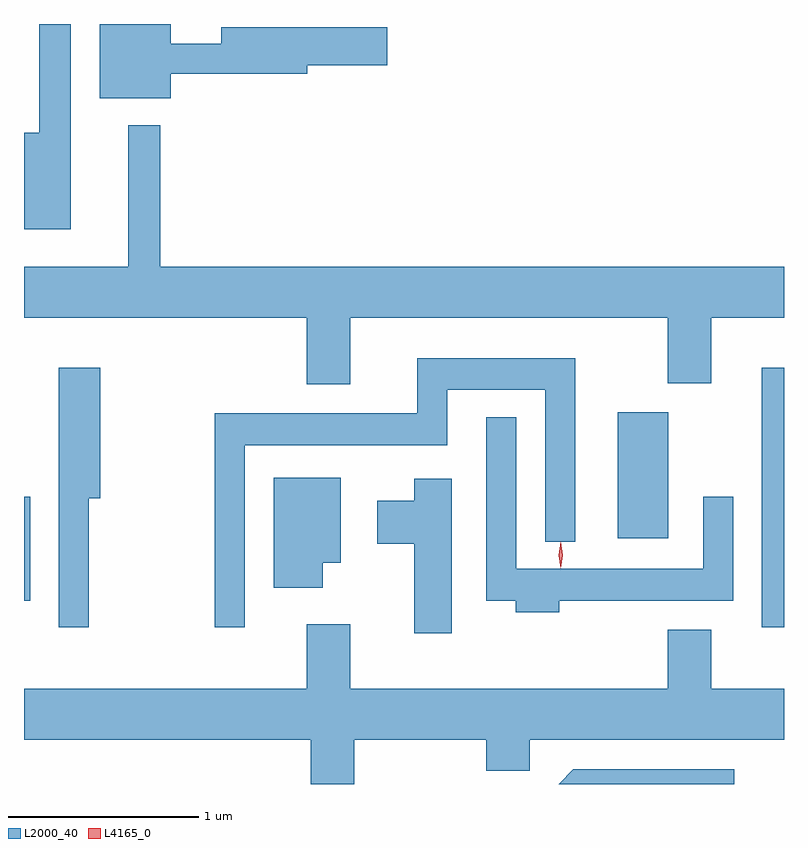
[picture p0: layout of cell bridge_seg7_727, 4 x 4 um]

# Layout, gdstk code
import gdstk
lib = gdstk.Library(unit=1e-6, precision=1e-09)
def R(c, l, rs):  # rectangles x0, y0, x1, y1
    for r in rs: c.add(gdstk.rectangle(r[:2], r[2:], *l))
def P(c, l, *ps):  # polygons
    for p in ps: c.add(gdstk.Polygon(p, *l))
L2000_40 = (2000, 40)
L4165_0 = (4165, 0)

bridge_seg7_727 = lib.new_cell('bridge_seg7_727')
R(bridge_seg7_727, L2000_40, [(567.886,1783.728,568.002,1785.094), (564.002,1783.866,564.034,1784.413), (567.126,1784.196,567.394,1784.859)])
P(bridge_seg7_727, L2000_40, [(564.774,1786.641),(565.494,1786.641),(565.494,1786.686),(565.914,1786.686),(565.914,1786.884),(565.041,1786.884),(565.041,1786.799),(564.774,1786.799),(564.774,1786.902),(564.401,1786.902),(564.401,1786.511),(564.774,1786.511)],
  [(564.249,1786.902),(564.081,1786.902),(564.081,1786.329),(564.002,1786.329),(564.002,1785.821),(564.249,1785.821)],
  [(565.719,1785.356),(567.391,1785.356),(567.391,1785.011),(567.619,1785.011),(567.619,1785.356),(568.002,1785.356),(568.002,1785.624),(564.719,1785.624),(564.719,1786.368),(564.551,1786.368),(564.551,1785.624),(564.002,1785.624),(564.002,1785.356),(565.491,1785.356),(565.491,1785.006),(565.719,1785.006)],
  [(565.164,1784.686),(566.229,1784.686),(566.229,1784.976),(566.746,1784.976),(566.746,1784.178),(566.904,1784.178),(566.904,1785.144),(566.071,1785.144),(566.071,1784.854),(565.006,1784.854),(565.006,1783.728),(565.164,1783.728)],
  [(564.344,1784.406),(564.404,1784.406),(564.404,1785.094),(564.186,1785.094),(564.186,1783.728),(564.344,1783.728)],
  [(566.819,1783.866),(567.734,1783.866),(567.734,1784.413),(567.576,1784.413),(567.576,1784.034),(566.594,1784.034),(566.594,1784.833),(566.436,1784.833),(566.436,1783.866),(566.591,1783.866),(566.591,1783.806),(566.819,1783.806)],
  [(565.574,1784.066),(565.669,1784.066),(565.669,1784.514),(565.316,1784.514),(565.316,1783.936),(565.574,1783.936)],
  [(566.254,1784.509),(566.056,1784.509),(566.056,1784.394),(565.861,1784.394),(565.861,1784.166),(566.056,1784.166),(566.056,1783.696),(566.254,1783.696)],
  [(565.739,1783.136),(566.436,1783.136),(566.436,1782.971),(566.664,1782.971),(566.664,1783.136),(568.002,1783.136),(568.002,1783.404),(567.619,1783.404),(567.619,1783.714),(567.391,1783.714),(567.391,1783.404),(565.719,1783.404),(565.719,1783.744),(565.491,1783.744),(565.491,1783.404),(564.002,1783.404),(564.002,1783.136),(565.511,1783.136),(565.511,1782.902),(565.739,1782.902)],
  [(567.739,1782.979),(566.894,1782.979),(566.817,1782.902),(567.739,1782.902)])
P(bridge_seg7_727, L4165_0, [(566.827,1784.037),(566.827,1784.038),(566.817,1784.107),(566.827,1784.176),(566.827,1784.176),(566.828,1784.176),(566.837,1784.107),(566.828,1784.038)],
  [(566.827,1784.04),(566.827,1784.04),(566.817,1784.106),(566.826,1784.172),(566.827,1784.173),(566.827,1784.172),(566.837,1784.106),(566.828,1784.04)])

lib.write_gds('bridge_seg7_727.gds')
